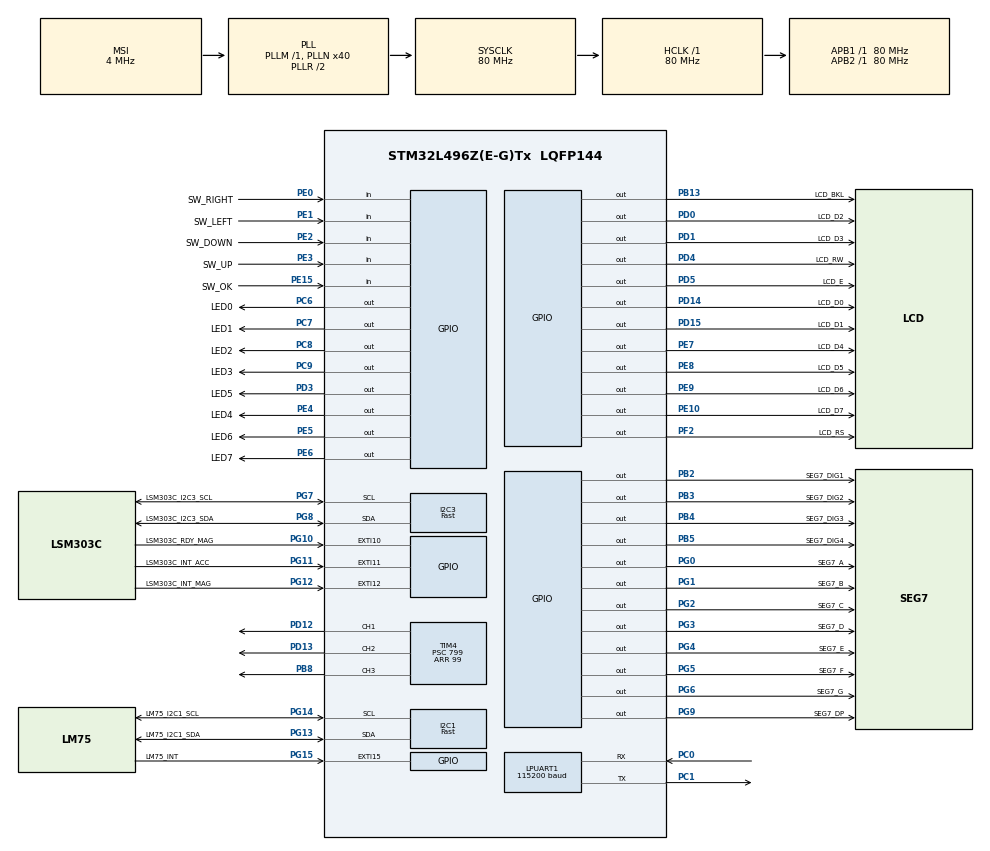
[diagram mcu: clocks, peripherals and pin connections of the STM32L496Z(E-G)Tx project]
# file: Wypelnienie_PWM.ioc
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Dma.I2C3_RX.2.Direction=DMA_PERIPH_TO_MEMORY
Dma.I2C3_RX.2.Instance=DMA1_Channel3
Dma.I2C3_RX.2.MemDataAlignment=DMA_MDATAALIGN_BYTE
Dma.I2C3_RX.2.MemInc=DMA_MINC_ENABLE
Dma.I2C3_RX.2.Mode=DMA_NORMAL
Dma.I2C3_RX.2.PeriphDataAlignment=DMA_PDATAALIGN_BYTE
Dma.I2C3_RX.2.PeriphInc=DMA_PINC_DISABLE
Dma.I2C3_RX.2.Priority=DMA_PRIORITY_LOW
Dma.LPUART_RX.0.Direction=DMA_PERIPH_TO_MEMORY
Dma.LPUART_RX.0.Instance=DMA2_Channel7
Dma.LPUART_RX.0.MemDataAlignment=DMA_MDATAALIGN_BYTE
Dma.LPUART_RX.0.MemInc=DMA_MINC_ENABLE
Dma.LPUART_RX.0.Mode=DMA_NORMAL
Dma.LPUART_RX.0.PeriphDataAlignment=DMA_PDATAALIGN_BYTE
Dma.LPUART_RX.0.PeriphInc=DMA_PINC_DISABLE
Dma.LPUART_RX.0.Priority=DMA_PRIORITY_LOW
Dma.LPUART_TX.1.Direction=DMA_MEMORY_TO_PERIPH
Dma.LPUART_TX.1.Instance=DMA2_Channel6
Dma.LPUART_TX.1.MemDataAlignment=DMA_MDATAALIGN_BYTE
Dma.LPUART_TX.1.MemInc=DMA_MINC_ENABLE
Dma.LPUART_TX.1.Mode=DMA_NORMAL
Dma.LPUART_TX.1.PeriphDataAlignment=DMA_PDATAALIGN_BYTE
Dma.LPUART_TX.1.PeriphInc=DMA_PINC_DISABLE
Dma.LPUART_TX.1.Priority=DMA_PRIORITY_LOW
Dma.Request0=LPUART_RX
Dma.Request1=LPUART_TX
Dma.Request2=I2C3_RX
I2C1.I2C_Fall_Time=300
I2C1.I2C_Rise_Time=300
I2C1.I2C_Speed_Mode=I2C_Fast
I2C1.OwnAddress=0
I2C1.Timing=0x20A60D20
I2C3.I2C_Fall_Time=300
I2C3.I2C_Rise_Time=300
I2C3.I2C_Speed_Mode=I2C_Fast
I2C3.OwnAddress=0x1D
I2C3.Timing=0x20A60D20
LPUART1.BaudRate=115200
LPUART1.WordLength=UART_WORDLENGTH_8B
Mcu.Family=STM32L4
Mcu.Name=STM32L496Z(E-G)Tx
Mcu.Package=LQFP144
NVIC.DMA1_Channel3_IRQn=true\:0\:0\:false\:false\:true\:false\:true
NVIC.DMA2_Channel6_IRQn=true\:0\:0\:false\:false\:true\:false\:true
NVIC.DMA2_Channel7_IRQn=true\:0\:0\:false\:false\:true\:false\:true
NVIC.EXTI15_10_IRQn=true\:0\:0\:false\:false\:true\:true\:true
NVIC.I2C1_EV_IRQn=true\:0\:0\:false\:false\:true\:true\:true
NVIC.I2C3_EV_IRQn=true\:0\:0\:false\:false\:true\:true\:true
NVIC.LPUART1_IRQn=true\:0\:0\:false\:false\:true\:true\:true
NVIC.PriorityGroup=NVIC_PRIORITYGROUP_4
NVIC.TIM4_IRQn=true\:0\:0\:false\:false\:true\:true\:true
PA13\ (JTMS/SWDIO).Mode=Serial_Wire
PA13\ (JTMS/SWDIO).Signal=SYS_JTMS-SWDIO
PA14\ (JTCK/SWCLK).Mode=Serial_Wire
PA14\ (JTCK/SWCLK).Signal=SYS_JTCK-SWCLK
PB13.GPIO_Label=LCD_BKL
PB13.Signal=GPIO_Output
PB2.GPIO_Label=SEG7_DIG1
PB2.Signal=GPIO_Output
PB3\ (JTDO/TRACESWO).GPIO_Label=SEG7_DIG2
PB3\ (JTDO/TRACESWO).Signal=GPIO_Output
PB4\ (NJTRST).GPIO_Label=SEG7_DIG3
PB4\ (NJTRST).Signal=GPIO_Output
PB5.GPIO_Label=SEG7_DIG4
PB5.Signal=GPIO_Output
PB8.Signal=S_TIM4_CH3
PC0.Mode=Asynchronous
PC0.Signal=LPUART1_RX
PC1.Mode=Asynchronous
PC1.Signal=LPUART1_TX
PC6.GPIO_Label=LED0
PC6.Signal=GPIO_Output
PC7.GPIO_Label=LED1
PC7.Signal=GPIO_Output
PC8.GPIO_Label=LED2
PC8.Signal=GPIO_Output
PC9.GPIO_Label=LED3
PC9.Signal=GPIO_Output
PD0.GPIO_Label=LCD_D2
PD0.Signal=GPIO_Output
PD1.GPIO_Label=LCD_D3
PD1.Signal=GPIO_Output
PD12.Signal=S_TIM4_CH1
PD13.Signal=S_TIM4_CH2
PD14.GPIO_Label=LCD_D0
PD14.Signal=GPIO_Output
PD15.GPIO_Label=LCD_D1
PD15.Signal=GPIO_Output
PD3.GPIO_Label=LED5
PD3.Signal=GPIO_Output
PD4.GPIO_Label=LCD_RW
PD4.Signal=GPIO_Output
PD5.GPIO_Label=LCD_E
PD5.Signal=GPIO_Output
PE0.GPIO_Label=SW_RIGHT
PE0.Signal=GPIO_Input
PE1.GPIO_Label=SW_LEFT
PE1.Signal=GPIO_Input
PE10.GPIO_Label=LCD_D7
PE10.Signal=GPIO_Output
PE15.GPIO_Label=SW_OK
PE15.Signal=GPIO_Input
PE2.GPIO_Label=SW_DOWN
PE2.Signal=GPIO_Input
PE3.GPIO_Label=SW_UP
PE3.Signal=GPIO_Input
PE4.GPIO_Label=LED4
PE4.Signal=GPIO_Output
PE5.GPIO_Label=LED6
PE5.Signal=GPIO_Output
PE6.GPIO_Label=LED7
PE6.Signal=GPIO_Output
PE7.GPIO_Label=LCD_D4
PE7.Signal=GPIO_Output
PE8.GPIO_Label=LCD_D5
PE8.Signal=GPIO_Output
PE9.GPIO_Label=LCD_D6
PE9.Signal=GPIO_Output
PF2.GPIO_Label=LCD_RS
PF2.Signal=GPIO_Output
PG0.GPIO_Label=SEG7_A
PG0.Signal=GPIO_Output
PG1.GPIO_Label=SEG7_B
PG1.Signal=GPIO_Output
PG10.GPIO_Label=LSM303C_RDY_MAG
PG10.GPIO_ModeDefaultEXTI=GPIO_MODE_IT_FALLING
PG10.Signal=GPXTI10
PG11.GPIO_Label=LSM303C_INT_ACC
PG11.GPIO_ModeDefaultEXTI=GPIO_MODE_IT_FALLING
PG11.Signal=GPXTI11
PG12.GPIO_Label=LSM303C_INT_MAG
PG12.GPIO_ModeDefaultEXTI=GPIO_MODE_IT_FALLING
PG12.Signal=GPXTI12
PG13.GPIO_Label=LM75_I2C1_SDA
PG13.Mode=I2C
PG13.Signal=I2C1_SDA
PG14.GPIO_Label=LM75_I2C1_SCL
PG14.Mode=I2C
PG14.Signal=I2C1_SCL
PG15.GPIO_Label=LM75_INT
PG15.GPIO_ModeDefaultEXTI=GPIO_MODE_IT_FALLING
PG15.Signal=GPXTI15
PG2.GPIO_Label=SEG7_C
PG2.Signal=GPIO_Output
PG3.GPIO_Label=SEG7_D
PG3.Signal=GPIO_Output
PG4.GPIO_Label=SEG7_E
PG4.Signal=GPIO_Output
PG5.GPIO_Label=SEG7_F
PG5.Signal=GPIO_Output
PG6.GPIO_Label=SEG7_G
PG6.Signal=GPIO_Output
PG7.GPIO_Label=LSM303C_I2C3_SCL
PG7.Mode=I2C
PG7.Signal=I2C3_SCL
PG8.GPIO_Label=LSM303C_I2C3_SDA
PG8.Mode=I2C
PG8.Signal=I2C3_SDA
PG9.GPIO_Label=SEG7_DP
PG9.Signal=GPIO_Output
ProjectManager.HeapSize=0x200
ProjectManager.StackSize=0x400
ProjectManager.TargetToolchain=STM32CubeIDE
RCC.ADCFreq_Value=32000000
RCC.AHBFreq_Value=80000000
RCC.APB1Freq_Value=80000000
RCC.APB1TimFreq_Value=80000000
RCC.APB2Freq_Value=80000000
RCC.APB2TimFreq_Value=80000000
RCC.CortexFreq_Value=80000000
RCC.HCLKFreq_Value=80000000
RCC.HSE_VALUE=8000000
RCC.HSI48_VALUE=48000000
RCC.HSI_VALUE=16000000
RCC.LSE_VALUE=32768
RCC.MSI_VALUE=4000000
RCC.PLLN=40
RCC.PLLSAI1N=16
RCC.SYSCLKFreq_VALUE=80000000
RCC.SYSCLKSource=RCC_SYSCLKSOURCE_PLLCLK
RCC.USBFreq_Value=32000000
RCC.VCOOutputFreq_Value=160000000
SH.S_TIM4_CH1.0=TIM4_CH1,PWM Generation1 CH1
SH.S_TIM4_CH2.0=TIM4_CH2,PWM Generation2 CH2
SH.S_TIM4_CH3.0=TIM4_CH3,PWM Generation3 CH3
TIM4.Channel-PWM\ Generation1\ CH1=TIM_CHANNEL_1
TIM4.Channel-PWM\ Generation2\ CH2=TIM_CHANNEL_2
TIM4.Channel-PWM\ Generation3\ CH3=TIM_CHANNEL_3
TIM4.Period=99
TIM4.Prescaler=799
VP_TIM4_VS_ClockSourceINT.Mode=Internal
board=custom

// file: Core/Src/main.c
/* USER CODE BEGIN Header */
/**
 ******************************************************************************
 * @file           : main.c
 * @brief          : Main program body
 ******************************************************************************
 * @attention
 *
 * <h2><center>&copy; Copyright (c) 2021 STMicroelectronics.
 * All rights reserved.</center></h2>
 *
 * This software component is licensed by ST under BSD 3-Clause license,
 * the "License"; You may not use this file except in compliance with the
 * License. You may obtain a copy of the License at:
 *                        opensource.org/licenses/BSD-3-Clause
 *
 ******************************************************************************
 */
/* USER CODE END Header */
#include "main.h"
#include "dma.h"
#include "i2c.h"
#include "usart.h"
#include "tim.h"
#include "gpio.h"

/* USER CODE BEGIN Includes */
#include <stdlib.h>
#include <stdio.h>
#include <string.h>
#include <math.h>
#include "sensor.h"
#include "display.h"
#include "lcd.h"
/* USER CODE END Includes */

void SystemClock_Config(void);

int main(void)
{

  /* MCU Configuration--------------------------------------------------------*/

  /* Reset of all peripherals, Initializes the Flash interface and the Systick. */
  HAL_Init();

  /* Configure the system clock */
  SystemClock_Config();

  /* Initialize all configured peripherals */
  MX_GPIO_Init();
  MX_DMA_Init();
  MX_LPUART1_UART_Init();
  MX_I2C1_Init();
  MX_I2C3_Init();
  MX_TIM4_Init();

  /* Infinite loop */
  /* USER CODE BEGIN WHILE */
  uint32_t i, duty;
  uint16_t PWM_Channel[] = { TIM_CHANNEL_1, TIM_CHANNEL_2, TIM_CHANNEL_3 };
  for (i= 0; i < 3; i++)
	  HAL_TIM_PWM_Start(&htim4, PWM_Channel[i]);

  ACC_XYZ_TypeDef acc;
  ACC_LSM303C_Init(LSM303C_ACC_ODR_10_HZ, LSM303C_ACC_FULLSCALE_2G);

	while (1) {
		for (i = 0; i < 3; i++) {
			duty = (uint16_t)(rand()%100);

			ACC_LSM303C_ReadXYZ(&acc);

			if(i==0){
				__HAL_TIM_SET_COMPARE(&htim4, PWM_Channel[0], abs(acc.x)/320);
				SEG_DisplayDec(duty);
				LEDs_SetValue(1<<i);
				HAL_Delay(2000);
			}

			else if(i==1){
				__HAL_TIM_SET_COMPARE(&htim4, PWM_Channel[1], abs(acc.y)/320);
				SEG_DisplayDec(duty);
				LEDs_SetValue(1<<i);
				HAL_Delay(2000);
			}

			else if(i==2){
						__HAL_TIM_SET_COMPARE(&htim4, PWM_Channel[2], abs(acc.y)/320);
						SEG_DisplayDec(duty);
						LEDs_SetValue(1<<i);
						HAL_Delay(2000);
					}

		}

	}
    /* USER CODE END WHILE */

}

void SystemClock_Config(void)
{
  RCC_OscInitTypeDef RCC_OscInitStruct = {0};
  RCC_ClkInitTypeDef RCC_ClkInitStruct = {0};

  /** Configure the main internal regulator output voltage
  */
  if (HAL_PWREx_ControlVoltageScaling(PWR_REGULATOR_VOLTAGE_SCALE1) != HAL_OK)
  {
    Error_Handler();
  }
  /** Initializes the RCC Oscillators according to the specified parameters
  * in the RCC_OscInitTypeDef structure.
  */
  RCC_OscInitStruct.OscillatorType = RCC_OSCILLATORTYPE_MSI;
  RCC_OscInitStruct.MSIState = RCC_MSI_ON;
  RCC_OscInitStruct.MSICalibrationValue = 0;
  RCC_OscInitStruct.MSIClockRange = RCC_MSIRANGE_6;
  RCC_OscInitStruct.PLL.PLLState = RCC_PLL_ON;
  RCC_OscInitStruct.PLL.PLLSource = RCC_PLLSOURCE_MSI;
  RCC_OscInitStruct.PLL.PLLM = 1;
  RCC_OscInitStruct.PLL.PLLN = 40;
  RCC_OscInitStruct.PLL.PLLP = RCC_PLLP_DIV2;
  RCC_OscInitStruct.PLL.PLLQ = RCC_PLLQ_DIV2;
  RCC_OscInitStruct.PLL.PLLR = RCC_PLLR_DIV2;
  if (HAL_RCC_OscConfig(&RCC_OscInitStruct) != HAL_OK)
  {
    Error_Handler();
  }
  /** Initializes the CPU, AHB and APB buses clocks
  */
  RCC_ClkInitStruct.ClockType = RCC_CLOCKTYPE_HCLK|RCC_CLOCKTYPE_SYSCLK
                              |RCC_CLOCKTYPE_PCLK1|RCC_CLOCKTYPE_PCLK2;
  RCC_ClkInitStruct.SYSCLKSource = RCC_SYSCLKSOURCE_PLLCLK;
  RCC_ClkInitStruct.AHBCLKDivider = RCC_SYSCLK_DIV1;
  RCC_ClkInitStruct.APB1CLKDivider = RCC_HCLK_DIV1;
  RCC_ClkInitStruct.APB2CLKDivider = RCC_HCLK_DIV1;

  if (HAL_RCC_ClockConfig(&RCC_ClkInitStruct, FLASH_LATENCY_4) != HAL_OK)
  {
    Error_Handler();
  }
}

/* USER CODE BEGIN 4 */
void HAL_SYSTICK_Callback(void) {
	SEG_Callback();
	SW_SysTickCallback();
}
/* USER CODE END 4 */

void Error_Handler(void)
{
	__disable_irq();
	while (1) {
	}
}
